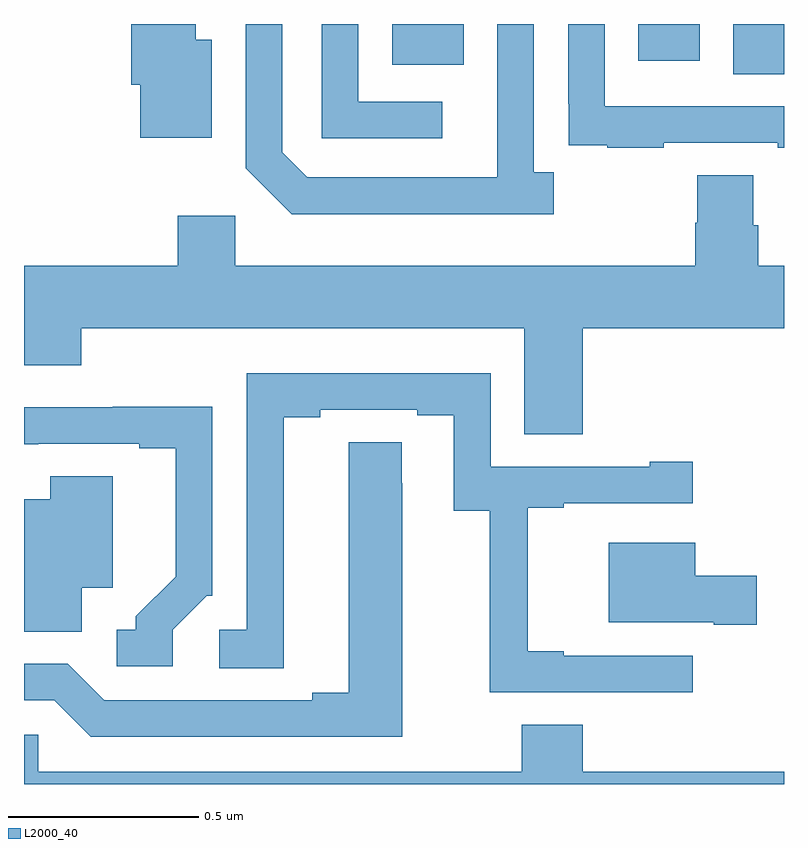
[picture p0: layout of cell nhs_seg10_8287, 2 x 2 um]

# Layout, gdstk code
import gdstk
lib = gdstk.Library(unit=1e-6, precision=1e-09)
def R(c, l, rs):  # rectangles x0, y0, x1, y1
    for r in rs: c.add(gdstk.rectangle(r[:2], r[2:], *l))
def P(c, l, *ps):  # polygons
    for p in ps: c.add(gdstk.Polygon(p, *l))
L2000_40 = (2000, 40)

nhs_seg10_8287 = lib.new_cell('nhs_seg10_8287')
R(nhs_seg10_8287, L2000_40, [(216.866,1250.368,217,1250.5), (215.969,1250.393,216.157,1250.5), (216.617,1250.403,216.778,1250.5)])
P(nhs_seg10_8287, L2000_40, [(215.494,1250.458),(215.452,1250.458),(215.452,1250.5),(215.282,1250.5),(215.282,1250.34),(215.306,1250.34),(215.306,1250.201),(215.494,1250.201)],
  [(216.683,1250.187),(216.983,1250.187),(216.983,1250.175),(217,1250.175),(217,1250.283),(216.528,1250.283),(216.528,1250.5),(216.432,1250.5),(216.432,1250.29),(216.433,1250.29),(216.433,1250.181),(216.535,1250.181),(216.535,1250.175),(216.683,1250.175)],
  [(216.394,1250.11),(216.342,1250.11),(216.342,1250.5),(216.246,1250.5),(216.246,1250.297),(216.245,1250.297),(216.245,1250.097),(215.745,1250.097),(215.679,1250.163),(215.679,1250.5),(215.583,1250.5),(215.583,1250.121),(215.704,1250),(216.394,1250)],
  [(216.1,1250.295),(215.88,1250.295),(215.88,1250.5),(215.784,1250.5),(215.784,1250.199),(216.1,1250.199)],
  [(216.47,1249.7),(217,1249.7),(217,1249.864),(216.932,1249.864),(216.932,1249.97),(216.919,1249.97),(216.919,1250.102),(216.772,1250.102),(216.772,1249.977),(216.767,1249.977),(216.767,1249.864),(215.556,1249.864),(215.556,1249.996),(215.405,1249.996),(215.405,1249.864),(215,1249.864),(215,1249.602),(215.15,1249.602),(215.15,1249.7),(216.317,1249.7),(216.317,1249.42),(216.47,1249.42)],
  [(216.76,1248.837),(216.421,1248.837),(216.421,1248.85),(216.326,1248.85),(216.326,1249.227),(216.421,1249.227),(216.421,1249.239),(216.76,1249.239),(216.76,1249.348),(216.647,1249.348),(216.647,1249.335),(216.228,1249.335),(216.228,1249.581),(215.586,1249.581),(215.586,1248.906),(215.514,1248.906),(215.514,1248.805),(215.683,1248.805),(215.683,1249.465),(215.779,1249.465),(215.779,1249.485),(216.035,1249.485),(216.035,1249.47),(216.131,1249.47),(216.131,1249.219),(216.226,1249.219),(216.226,1248.741),(216.76,1248.741)],
  [(215.391,1248.906),(215.481,1248.996),(215.496,1248.996),(215.496,1249.493),(215.233,1249.493),(215.233,1249.491),(215,1249.491),(215,1249.394),(215.038,1249.394),(215.038,1249.395),(215.303,1249.395),(215.303,1249.383),(215.399,1249.383),(215.399,1249.046),(215.294,1248.941),(215.294,1248.906),(215.244,1248.906),(215.244,1248.81),(215.391,1248.81)],
  [(215.995,1249.292),(215.994,1249.292),(215.994,1249.4),(215.855,1249.4),(215.855,1248.74),(215.759,1248.74),(215.759,1248.72),(215.211,1248.72),(215.115,1248.816),(215,1248.816),(215,1248.72),(215.079,1248.72),(215.175,1248.624),(215.995,1248.624)],
  [(215.152,1249.016),(215.233,1249.016),(215.233,1249.31),(215.069,1249.31),(215.069,1249.249),(215,1249.249),(215,1248.901),(215.152,1248.901)],
  [(216.928,1249.048),(216.766,1249.048),(216.766,1249.135),(216.539,1249.135),(216.539,1248.926),(216.815,1248.926),(216.815,1248.919),(216.928,1248.919)],
  [(217,1248.532),(216.47,1248.532),(216.47,1248.656),(216.31,1248.656),(216.31,1248.532),(215.037,1248.532),(215.037,1248.63),(215,1248.63),(215,1248.5),(217,1248.5)])

lib.write_gds('nhs_seg10_8287.gds')
